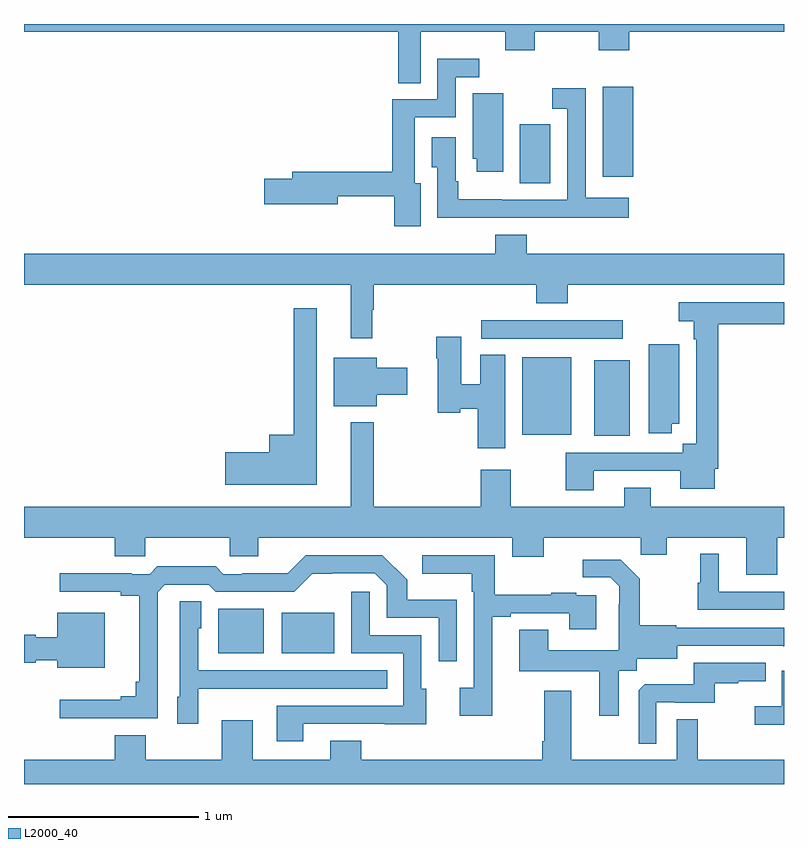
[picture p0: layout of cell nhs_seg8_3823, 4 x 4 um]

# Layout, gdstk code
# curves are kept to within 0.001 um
import gdstk
lib = gdstk.Library(unit=1e-6, precision=1e-09)
def R(c, l, rs):  # rectangles x0, y0, x1, y1
    for r in rs: c.add(gdstk.rectangle(r[:2], r[2:], *l))
def P(c, l, *ps):  # polygons
    for p in ps: c.add(gdstk.Polygon(p, *l))
L2000_40 = (2000, 40)

nhs_seg8_3823 = lib.new_cell('nhs_seg8_3823')
R(nhs_seg8_3823, L2000_40, [(348.023,1086.587,348.262,1086.823), (348.356,1086.587,348.634,1086.802), (350,1087.733,350.188,1088.131), (349.622,1087.739,349.879,1088.146), (349.407,1088.244,350.152,1088.34), (349.61,1089.061,349.771,1089.372), (350.045,1089.096,350.206,1089.571)])
P(nhs_seg8_3823, L2000_40, [(349.087,1089.86),(349.534,1089.86),(349.534,1089.761),(349.689,1089.761),(349.689,1089.86),(350.026,1089.86),(350.026,1089.761),(350.186,1089.761),(350.186,1089.86),(351,1089.86),(351,1089.9),(347,1089.9),(347,1089.86),(348.969,1089.86),(348.969,1089.589),(349.087,1089.589)],
  [(349.087,1089.063),(349.057,1089.063),(349.057,1089.408),(349.272,1089.408),(349.272,1089.621),(349.396,1089.621),(349.396,1089.718),(349.176,1089.718),(349.176,1089.504),(348.939,1089.504),(348.939,1089.122),(348.413,1089.122),(348.413,1089.086),(348.264,1089.086),(348.264,1088.951),(348.652,1088.951),(348.652,1088.994),(348.949,1088.994),(348.949,1088.835),(349.087,1088.835)],
  [(349.397,1088.88),(349.763,1088.88),(349.763,1088.879),(350.182,1088.879),(350.182,1088.986),(349.956,1088.986),(349.956,1089.562),(349.779,1089.562),(349.779,1089.453),(349.86,1089.453),(349.86,1088.976),(349.514,1088.976),(349.514,1088.977),(349.285,1088.977),(349.285,1089.073),(349.272,1089.073),(349.272,1089.304),(349.145,1089.304),(349.145,1089.145),(349.176,1089.145),(349.176,1088.879),(349.397,1088.879)],
  [(349.522,1089.536),(349.361,1089.536),(349.361,1089.192),(349.382,1089.192),(349.382,1089.123),(349.522,1089.123)],
  [(348.833,1088.396),(348.841,1088.396),(348.841,1088.528),(349.697,1088.528),(349.697,1088.429),(349.862,1088.429),(349.862,1088.528),(351,1088.528),(351,1088.692),(349.646,1088.692),(349.646,1088.791),(349.481,1088.791),(349.481,1088.692),(347,1088.692),(347,1088.528),(348.719,1088.528),(348.719,1088.247),(348.833,1088.247)],
  [(349.999,1087.548),(350.453,1087.548),(350.453,1087.454),(350.635,1087.454),(350.635,1087.558),(350.654,1087.558),(350.654,1088.32),(351,1088.32),(351,1088.436),(350.445,1088.436),(350.445,1088.336),(350.526,1088.336),(350.526,1088.24),(350.538,1088.24),(350.538,1087.69),(350.468,1087.69),(350.468,1087.644),(349.852,1087.644),(349.852,1087.446),(349.999,1087.446)],
  [(348.541,1088.404),(348.42,1088.404),(348.42,1087.738),(348.29,1087.738),(348.29,1087.646),(348.06,1087.646),(348.06,1087.475),(348.541,1087.475)],
  [(349.534,1088.159),(349.4,1088.159),(349.4,1088.005),(349.3,1088.005),(349.3,1088.254),(349.171,1088.254),(349.171,1088.141),(349.178,1088.141),(349.178,1087.853),(349.296,1087.853),(349.296,1087.876),(349.388,1087.876),(349.388,1087.668),(349.534,1087.668)],
  [(350.41,1087.796),(350.449,1087.796),(350.449,1088.215),(350.288,1088.215),(350.288,1087.747),(350.41,1087.747)],
  [(348.856,1087.949),(349.018,1087.949),(349.018,1088.091),(348.856,1088.091),(348.856,1088.143),(348.629,1088.143),(348.629,1087.889),(348.856,1087.889)],
  [(350.965,1087.196),(351,1087.196),(351,1087.36),(350.299,1087.36),(350.299,1087.459),(350.159,1087.459),(350.159,1087.36),(349.563,1087.36),(349.563,1087.555),(349.403,1087.555),(349.403,1087.36),(348.841,1087.36),(348.841,1087.804),(348.719,1087.804),(348.719,1087.36),(347,1087.36),(347,1087.196),(347.477,1087.196),(347.477,1087.098),(347.637,1087.098),(347.637,1087.196),(348.082,1087.196),(348.082,1087.098),(348.232,1087.098),(348.232,1087.196),(349.571,1087.196),(349.571,1087.097),(349.735,1087.097),(349.735,1087.196),(350.245,1087.196),(350.245,1087.106),(350.383,1087.106),(350.383,1087.196),(350.801,1087.196),(350.801,1087.002),(350.965,1087.002)],
  [(351,1086.912),(350.656,1086.912),(350.656,1087.111),(350.558,1087.111),(350.558,1086.96),(350.547,1086.96),(350.547,1086.816),(351,1086.816)],
  [(349.465,1086.78),(349.561,1086.78),(349.561,1086.798),(349.871,1086.798),(349.871,1086.714),(350.011,1086.714),(350.011,1086.894),(349.907,1086.894),(349.907,1086.907),(349.775,1086.907),(349.775,1086.896),(349.477,1086.896),(349.477,1087.104),(349.095,1087.104),(349.095,1087.007),(349.356,1087.007),(349.356,1086.911),(349.368,1086.911),(349.368,1086.406),(349.293,1086.406),(349.293,1086.258),(349.465,1086.258)],
  [(347.703,1086.909),(347.742,1086.948),(347.973,1086.948),(348.009,1086.912),(348.423,1086.912),(348.518,1087.007),(348.846,1087.008),(348.909,1086.945),(348.909,1086.774),(349.182,1086.774),(349.182,1086.546),(349.278,1086.546),(349.278,1086.871),(349.017,1086.871),(349.017,1086.974),(348.886,1087.104),(348.483,1087.104),(348.389,1087.01),(348.148,1087.01),(348.148,1087.005),(348.048,1087.005),(348.009,1087.045),(347.701,1087.045),(347.661,1087.005),(347.567,1087.005),(347.567,1087.01),(347.187,1087.01),(347.187,1086.912),(347.51,1086.912),(347.51,1086.89),(347.606,1086.89),(347.606,1086.439),(347.587,1086.439),(347.587,1086.362),(347.51,1086.362),(347.51,1086.343),(347.187,1086.343),(347.187,1086.246),(347.703,1086.246)],
  [(350.131,1086.496),(350.226,1086.496),(350.226,1086.56),(350.437,1086.56),(350.437,1086.627),(351,1086.626),(351,1086.723),(350.433,1086.723),(350.433,1086.736),(350.241,1086.736),(350.241,1086.981),(350.141,1087.081),(349.941,1087.081),(349.941,1086.987),(350.085,1086.987),(350.132,1086.94),(350.132,1086.845),(350.13,1086.845),(350.13,1086.604),(349.759,1086.604),(349.759,1086.713),(349.607,1086.713),(349.607,1086.494),(350.027,1086.494),(350.027,1086.258),(350.131,1086.258)],
  [(348.469,1086.216),(348.899,1086.216),(348.899,1086.215),(349.117,1086.215),(349.117,1086.402),(349.092,1086.402),(349.092,1086.684),(348.819,1086.684),(348.819,1086.913),(348.723,1086.913),(348.723,1086.588),(348.996,1086.588),(348.996,1086.312),(348.329,1086.312),(348.329,1086.126),(348.469,1086.126)],
  [(347.916,1086.401),(348.233,1086.401),(348.233,1086.402),(348.911,1086.402),(348.911,1086.498),(347.916,1086.498),(347.916,1086.72),(347.932,1086.72),(347.932,1086.863),(347.82,1086.863),(347.82,1086.36),(347.807,1086.36),(347.807,1086.216),(347.916,1086.216)],
  [(347.425,1086.802),(347.174,1086.802),(347.174,1086.673),(347.061,1086.673),(347.061,1086.686),(347,1086.686),(347,1086.539),(347.061,1086.539),(347.061,1086.551),(347.174,1086.551),(347.174,1086.512),(347.425,1086.512)],
  [(350.328,1086.33),(350.428,1086.33),(350.428,1086.327),(350.636,1086.327),(350.636,1086.429),(350.759,1086.429),(350.759,1086.44),(350.903,1086.44),(350.903,1086.537),(350.526,1086.537),(350.526,1086.425),(350.267,1086.425),(350.235,1086.393),(350.235,1086.113),(350.328,1086.113)],
  [(351,1086.495),(350.988,1086.495),(350.988,1086.31),(350.847,1086.31),(350.847,1086.212),(351,1086.212)],
  [(351,1086.028),(350.545,1086.028),(350.545,1086.242),(350.436,1086.242),(350.436,1086.028),(349.879,1086.028),(349.879,1086.391),(349.739,1086.391),(349.739,1086.124),(349.727,1086.124),(349.727,1086.028),(348.775,1086.028),(348.775,1086.127),(348.611,1086.127),(348.611,1086.028),(348.205,1086.028),(348.205,1086.235),(348.041,1086.235),(348.041,1086.028),(347.641,1086.028),(347.641,1086.157),(347.477,1086.157),(347.477,1086.028),(347,1086.028),(347,1085.9),(351,1085.9)])

lib.write_gds('nhs_seg8_3823.gds')
